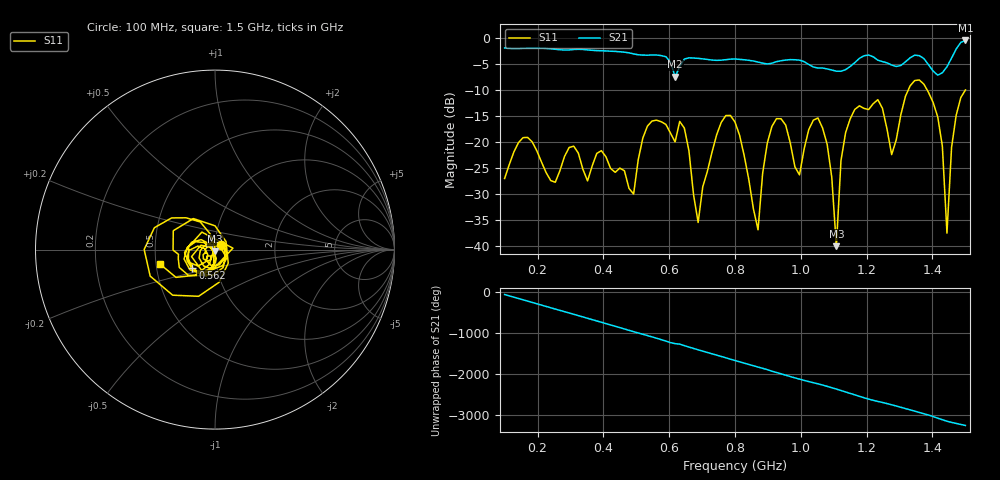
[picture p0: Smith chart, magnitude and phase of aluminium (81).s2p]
! NanoVNA-App
! Date: 2025-09-25 14:55:54
! Start: 100MHz Stop: 1,5GHz Points: 101
! S-Parameter data: F S11 S21 S12 S22
# Hz S RI R 50
!  Frequency  S11_Real  S11_Imag  S21_Real  S21_Imag  S12_Real  S12_Imag  S22_Real  S22_Imag
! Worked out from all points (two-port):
!   101 points, 100 MHz to 1.5 GHz, reference 50 ohm
!   highest |S21| = -0.48 dB at 1.5 GHz (marker M1); lowest = -7.4 dB at 618 MHz (marker M2)
!   |S21| within 3 dB of the highest: start of sweep to 581.8 MHz; 1.461 GHz to end of sweep (the widest 2 of 4)
!   lowest |S11| = -40.0 dB at 1.108 GHz (marker M3), VSWR 1.02, Z = 50 - j0.999 ohm
!   |S11| at or under -10 dB: start of sweep to 1.326 GHz; 1.384 GHz to 1.5 GHz (116.2 MHz wide, 8.06 % of centre)
!   S12 and S22 are empty: the file has one direction only
!   S11 on the Smith chart (normalised r, x): 100 MHz: 1.07, +0.06; 562 MHz: 0.76, -0.16; 1.5 GHz: 0.53, -0.09
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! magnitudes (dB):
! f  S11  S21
! 100 MHz  -27.0  -1.9
! 338 MHz  -25.3  -2.2
! 492 MHz  -30.0  -3.1
! 562 MHz  -15.8  -3.3
! 576 MHz  -16.1  -3.4
! 618 MHz  -20.0  -7.4
! 688 MHz  -35.5  -3.9
! 800 MHz  -16.2  -4.0
! 870 MHz  -36.9  -4.6
! 912 MHz  -17.0  -4.9
! 996 MHz  -26.3  -4.3
! 1.038 GHz  -15.8  -5.6
! 1.08 GHz  -20.4  -6.0
! 1.108 GHz  -40.0  -6.4
! 1.122 GHz  -23.6  -6.4
! 1.164 GHz  -13.7  -4.7
! 1.276 GHz  -22.4  -5.2
! 1.374 GHz  -8.9  -4.0
! 1.43 GHz  -20.8  -6.7
! 1.444 GHz  -37.5  -5.5
! 1.458 GHz  -21.0  -3.9
! 1.5 GHz  -10.0  -0.5
